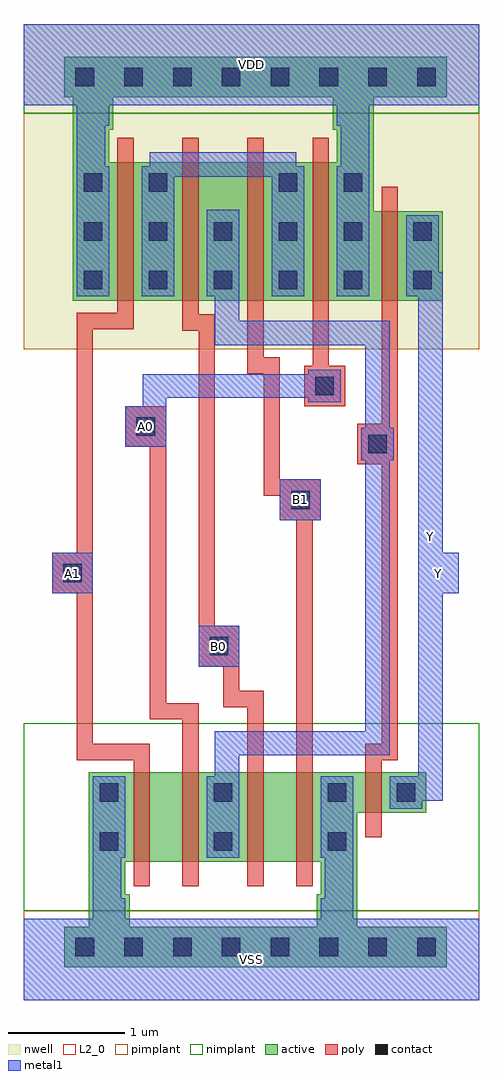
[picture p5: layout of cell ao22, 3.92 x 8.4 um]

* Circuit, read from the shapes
.subckt ao22 A0 A1 B0 B1 VDD VSS Y
M1 n1 A1 VSS VSS nfet w=0.77u l=0.14u
M2 n2 A0 n1 VSS nfet w=0.77u l=0.14u
M3 n3 B0 n2 VSS nfet w=0.77u l=0.14u
M4 VSS B1 n3 VSS nfet w=0.77u l=0.14u
M5 Y n2 VSS VSS nfet w=0.35u l=0.14u
M6 n4 A1 VDD VDD pfet w=1.19u l=0.14u
M7 n2 B0 n4 VDD pfet w=1.19u l=0.14u
M8 n4 B1 n2 VDD pfet w=1.19u l=0.14u
M9 VDD A0 n4 VDD pfet w=1.19u l=0.14u
M10 Y n2 VDD VDD pfet w=0.77u l=0.14u
.ends

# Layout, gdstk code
import gdstk
lib = gdstk.Library(unit=1e-6, precision=1e-09)
def R(c, l, rs):  # rectangles x0, y0, x1, y1
    for r in rs: c.add(gdstk.rectangle(r[:2], r[2:], *l))
def A(c, l, x, y, w, h, nx, ny, dx, dy):  # array of equal rectangles
    R(c, l, [(x+i*dx, y+j*dy, x+i*dx+w, y+j*dy+h) for i in range(nx) for j in range(ny)])
def P(c, l, *ps):  # polygons
    for p in ps: c.add(gdstk.Polygon(p, *l))
L2_0 = (2, 0)
nwell = (3, 0)
active = (6, 0)
poly = (17, 0)
pimplant = (25, 0)
nimplant = (26, 0)
contact = (30, 0)
metal1 = (31, 0)

adk_poly_m1 = lib.new_cell('ADK_poly_m1')
R(adk_poly_m1, poly, [(-0.175,-0.175,0.175,0.175)])
R(adk_poly_m1, contact, [(-0.08,-0.08,0.08,0.08)])
R(adk_poly_m1, metal1, [(-0.175,-0.175,0.175,0.175)])

ao22 = lib.new_cell('ao22')
R(ao22, L2_0, [(0,0,3.92,2.38)])
R(ao22, nwell, [(0,5.6,3.92,8.4)])
P(ao22, nwell, [(0,5.6),(3.92,5.6),(3.92,7.21),(3.43,7.21),(3.43,7.63),(0,7.63)])
R(ao22, active, [(0.35,0.28,3.64,0.63), (0.56,0.63,0.91,0.91), (2.52,0.63,2.87,0.91), (0.56,0.91,0.875,1.19), (2.555,0.91,2.87,1.19), (0.56,1.19,0.945,1.96), (3.08,1.61,3.465,1.96), (0.42,6.02,0.805,7.21), (3.22,6.02,3.605,6.79), (0.42,7.21,0.735,7.49), (2.695,7.21,3.01,7.49), (0.42,7.49,0.77,7.77), (2.66,7.49,3.01,7.77), (0.35,7.77,3.64,8.12)])
P(ao22, active, [(2.87,1.19),(2.87,1.61),(3.465,1.61),(3.465,1.96),(0.56,1.96),(0.56,1.19)],
  [(3.605,6.02),(3.605,6.79),(3.01,6.79),(3.01,7.21),(0.42,7.21),(0.42,6.02)])
A(ao22, poly, 0.805, 5.81, 0.14, 0.21, 4, 2, 0.56, 1.4)
A(ao22, poly, 0.805, 6.02, 0.14, 1.19, 4, 1, 0.56, 0)
R(ao22, poly, [(0.945,0.98,1.085,1.19), (1.365,0.98,1.505,1.19), (1.925,0.98,2.065,1.19), (2.345,0.98,2.485,1.19), (0.945,1.19,1.085,1.96), (1.365,1.19,1.505,1.96), (1.925,1.19,2.065,1.96), (2.345,1.19,2.485,1.96), (2.94,1.4,3.08,1.61), (2.94,1.61,3.08,1.96), (0.945,1.96,1.085,2.17), (1.365,1.96,1.505,2.17), (1.925,1.96,2.065,2.17), (2.345,1.96,2.485,2.17), (2.94,1.96,3.08,2.17), (2.87,4.61,3.22,4.96), (2.415,5.11,2.765,5.46), (3.08,5.81,3.22,6.02), (3.08,6.02,3.22,6.79), (3.08,6.79,3.22,7)])
R(ao22, pimplant, [(0,0,3.92,0.77), (0,5.6,3.92,7.63)])
R(ao22, nimplant, [(0,0.77,3.92,2.38), (0,7.63,3.92,8.4)])
A(ao22, contact, 0.445, 0.375, 0.16, 0.16, 8, 2, 0.42, 7.49)
A(ao22, contact, 0.655, 1.285, 0.16, 0.16, 3, 2, 0.98, 0.42)
A(ao22, contact, 0.515, 6.115, 0.16, 0.16, 5, 2, 0.56, 0.42)
R(ao22, contact, [(3.21,1.705,3.37,1.865), (2.965,4.705,3.125,4.865), (2.51,5.205,2.67,5.365), (3.35,6.115,3.51,6.275), (3.35,6.535,3.51,6.695), (0.515,6.955,0.675,7.115), (1.075,6.955,1.235,7.115), (2.195,6.955,2.355,7.115), (2.755,6.955,2.915,7.115)])
A(ao22, metal1, 0.595, 1.225, 0.28, 0.7, 3, 1, 0.98, 0)
R(ao22, metal1, [(0,0,3.92,0.7), (0,0,3.92,0.7), (0.595,0.7,0.875,0.875), (2.555,0.7,2.835,0.875), (0.595,0.875,0.84,1.225), (2.59,0.875,2.835,1.225), (3.15,1.645,3.43,1.925), (1.505,2.87,1.855,3.22), (0.245,3.5,0.595,3.85), (3.395,3.5,3.745,3.85), (2.205,4.13,2.555,4.48), (2.905,4.645,3.185,4.925), (0.875,4.76,1.225,5.11), (1.025,4.895,1.225,5.385), (2.45,5.145,2.73,5.425), (1.025,5.185,2.65,5.385), (0.455,6.055,0.735,7.175), (1.015,6.055,1.295,7.175), (1.575,6.055,1.855,6.8), (2.135,6.055,2.415,7.175), (2.695,6.055,2.975,7.175), (3.29,6.055,3.57,6.755), (0.455,7.175,0.7,7.525), (2.73,7.175,2.975,7.525), (0.455,7.525,0.735,7.7), (2.695,7.525,2.975,7.7), (0,7.7,3.92,8.4), (0,7.7,3.92,8.4)])
ao22.add(gdstk.FlexPath([(1.75,6.055),(1.75,5.74),(3.045,5.74),(3.045,4.925)], 0.21, ends="flush", simple_path=True, layer=31, datatype=0))  # metal1
ao22.add(gdstk.FlexPath([(3.045,4.91),(3.045,2.21),(1.75,2.21),(1.75,1.925)], 0.21, ends="flush", simple_path=True, layer=31, datatype=0))  # metal1
ao22.add(gdstk.FlexPath([(2.24,7.175),(2.24,7.19),(1.19,7.19),(1.19,7.175)], 0.21, ends="flush", simple_path=True, layer=31, datatype=0))  # metal1
ao22.add(gdstk.FlexPath([(3.5,6.265),(3.5,1.715)], 0.21, ends="flush", simple_path=True, layer=31, datatype=0))  # metal1
ao22.add(gdstk.FlexPath([(1.435,5.845),(1.435,5.83),(1.575,5.83),(1.575,3.22)], 0.14, ends="flush", simple_path=True, layer=17, datatype=0))  # poly
ao22.add(gdstk.FlexPath([(1.995,5.845),(1.995,5.46),(2.135,5.46),(2.135,4.34)], 0.14, ends="flush", simple_path=True, layer=17, datatype=0))  # poly
ao22.add(gdstk.FlexPath([(1.995,2.135),(1.995,2.59),(1.785,2.59),(1.785,2.87)], 0.14, ends="flush", simple_path=True, layer=17, datatype=0))  # poly
ao22.add(gdstk.FlexPath([(1.085,2.135),(0.525,2.135),(0.525,3.5)], 0.14, ends="flush", simple_path=True, layer=17, datatype=0))  # poly
ao22.add(gdstk.FlexPath([(3.15,5.845),(3.15,4.96)], 0.14, ends="flush", simple_path=True, layer=17, datatype=0))  # poly
ao22.add(gdstk.FlexPath([(2.555,5.845),(2.555,5.46)], 0.14, ends="flush", simple_path=True, layer=17, datatype=0))  # poly
ao22.add(gdstk.FlexPath([(1.435,2.135),(1.435,2.485),(1.155,2.485),(1.155,5.11)], 0.14, ends="flush", simple_path=True, layer=17, datatype=0))  # poly
ao22.add(gdstk.FlexPath([(2.415,2.135),(2.415,4.13)], 0.14, ends="flush", simple_path=True, layer=17, datatype=0))  # poly
ao22.add(gdstk.FlexPath([(3.15,4.61),(3.15,2.135),(2.94,2.135)], 0.14, ends="flush", simple_path=True, layer=17, datatype=0))  # poly
ao22.add(gdstk.FlexPath([(0.525,3.85),(0.525,5.845),(0.945,5.845)], 0.14, ends="flush", simple_path=True, layer=17, datatype=0))  # poly
ao22.add(gdstk.Reference(adk_poly_m1, (1.05,4.935)))
ao22.add(gdstk.Reference(adk_poly_m1, (1.68,3.045)))
ao22.add(gdstk.Reference(adk_poly_m1, (0.42,3.675)))
ao22.add(gdstk.Reference(adk_poly_m1, (2.38,4.305)))
ao22.add(gdstk.Label('VSS', (1.96,0.35), layer=131, texttype=0))
ao22.add(gdstk.Label('VDD', (1.96,8.05), layer=131, texttype=0))
ao22.add(gdstk.Label('A0', (1.05,4.935), layer=131, texttype=0))
ao22.add(gdstk.Label('A1', (0.42,3.675), layer=131, texttype=0))
ao22.add(gdstk.Label('Y', (3.57,3.675), layer=131, texttype=0))
ao22.add(gdstk.Label('B1', (2.38,4.305), layer=131, texttype=0))
ao22.add(gdstk.Label('B0', (1.68,3.045), layer=131, texttype=0))
ao22.add(gdstk.Label('VSS', (1.96,0.35), layer=31, texttype=0))
ao22.add(gdstk.Label('VDD', (1.96,8.05), layer=31, texttype=0))
ao22.add(gdstk.Label('A0', (1.05,4.935), layer=31, texttype=0))
ao22.add(gdstk.Label('A1', (0.42,3.675), layer=31, texttype=0))
ao22.add(gdstk.Label('Y', (3.57,3.675), layer=31, texttype=0))
ao22.add(gdstk.Label('Y', (3.5,3.99), layer=31, texttype=0))
ao22.add(gdstk.Label('B1', (2.38,4.305), layer=31, texttype=0))
ao22.add(gdstk.Label('B0', (1.68,3.045), layer=31, texttype=0))

lib.write_gds('ao22.gds')
